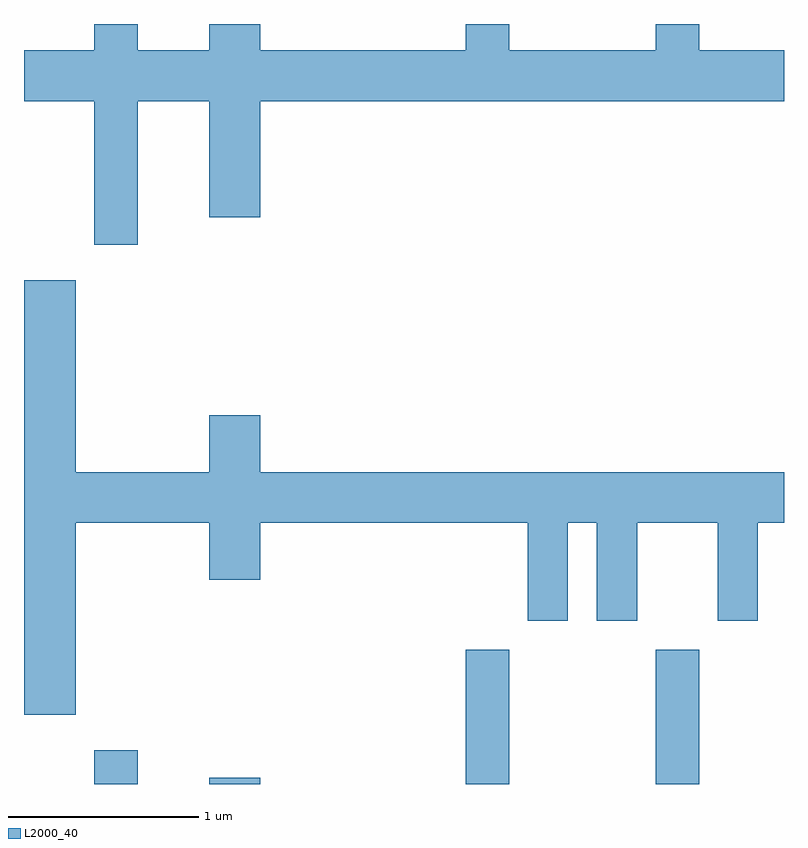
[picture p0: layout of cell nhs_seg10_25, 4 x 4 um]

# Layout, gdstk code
import gdstk
lib = gdstk.Library(unit=1e-6, precision=1e-09)
def R(c, l, rs):  # rectangles x0, y0, x1, y1
    for r in rs: c.add(gdstk.rectangle(r[:2], r[2:], *l))
def P(c, l, *ps):  # polygons
    for p in ps: c.add(gdstk.Polygon(p, *l))
L2000_40 = (2000, 40)

nhs_seg10_25 = lib.new_cell('nhs_seg10_25')
R(nhs_seg10_25, L2000_40, [(185.981,2132.522,186.209,2132.699), (186.586,2132.522,186.854,2132.554), (187.936,2132.522,188.164,2133.229), (188.936,2132.522,189.164,2133.229)])
P(nhs_seg10_25, L2000_40, [(186.209,2136.116),(186.586,2136.116),(186.586,2135.506),(186.854,2135.506),(186.854,2136.116),(189.611,2136.116),(189.611,2136.384),(189.164,2136.384),(189.164,2136.522),(188.936,2136.522),(188.936,2136.384),(188.164,2136.384),(188.164,2136.522),(187.936,2136.522),(187.936,2136.384),(186.854,2136.384),(186.854,2136.522),(186.586,2136.522),(186.586,2136.384),(186.209,2136.384),(186.209,2136.522),(185.981,2136.522),(185.981,2136.384),(185.611,2136.384),(185.611,2136.116),(185.981,2136.116),(185.981,2135.361),(186.209,2135.361)],
  [(185.884,2133.896),(186.586,2133.896),(186.586,2133.596),(186.854,2133.596),(186.854,2133.896),(188.261,2133.896),(188.261,2133.381),(188.474,2133.381),(188.474,2133.896),(188.626,2133.896),(188.626,2133.381),(188.839,2133.381),(188.839,2133.896),(189.261,2133.896),(189.261,2133.381),(189.474,2133.381),(189.474,2133.896),(189.611,2133.896),(189.611,2134.164),(186.854,2134.164),(186.854,2134.464),(186.586,2134.464),(186.586,2134.164),(185.884,2134.164),(185.884,2135.174),(185.611,2135.174),(185.611,2132.886),(185.884,2132.886)])

lib.write_gds('nhs_seg10_25.gds')
